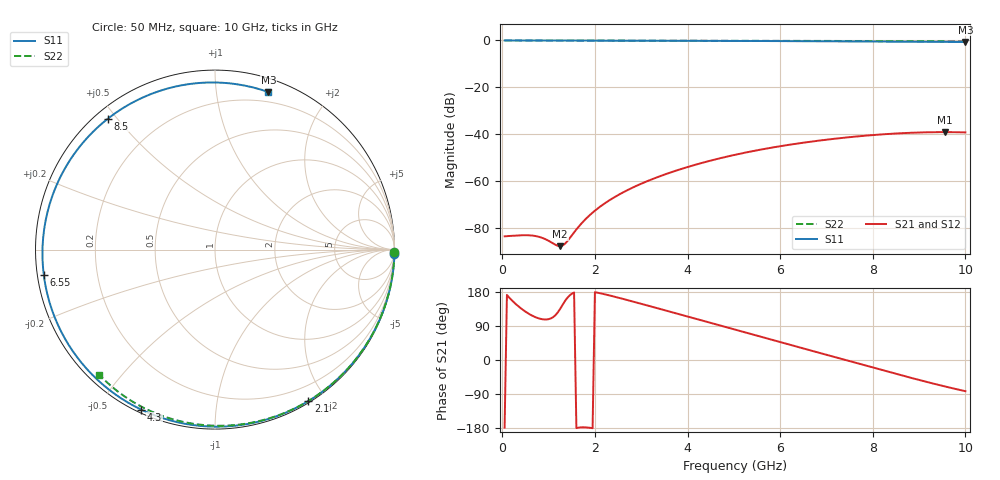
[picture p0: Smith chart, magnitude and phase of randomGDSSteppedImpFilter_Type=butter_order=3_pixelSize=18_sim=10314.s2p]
! freq	dB(S11)	phase(S11)	dB(S12)	phase(S12)
!  dB(S21)	phase(S21)	dB(S22)	phase(S22)
!S-par simulation data
#  GHz  S  DB  R 50
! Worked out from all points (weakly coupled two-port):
!   200 points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, 50 MHz to 10 GHz, reference 50 ohm
!   highest |S21| = -39.09 dB at 9.55 GHz (marker M1); lowest = -87.7 dB at 1.25 GHz (marker M2)
!   lowest |S11| = -0.7 dB at 10 GHz (marker M3), VSWR 26.28, Z = 5.59 + j69.5 ohm
!   |S11| at or under -10 dB: nowhere
!   |S22| runs from -0.4 to 0.0 dB; largest |S21 - S12| = 0
!   S11 on the Smith chart (normalised r, x): 50 MHz: 0, -80; 2.1 GHz: 0.02, -1.79; 4.3 GHz: 0.01, -0.64; 6.55 GHz: 0.02, -0.07; 8.5 GHz: 0.04, +0.47; 10 GHz: 0.11, +1.39
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0.05  -0.00 -1.4  -83.52 -178.3  -83.52 -178.3  -0.00 -0.8
0.65  -0.02 -18.5  -83.19 116.7  -83.19 116.7  -0.01 -9.9
1.25  -0.04 -35.2  -87.71 135.1  -87.71 135.1  -0.02 -19.0
1.6  -0.06 -44.8  -80.58 -179.7  -80.58 -179.7  -0.03 -24.2
1.75  -0.06 -48.9  -77.16 -177.6  -77.16 -177.6  -0.03 -26.5
2.1  -0.07 -58.3  -71.03 176.6  -71.03 176.6  -0.04 -31.6
2.65  -0.09 -72.9  -64.34 159.8  -64.34 159.8  -0.05 -39.7
3.4  -0.12 -92.2  -57.92 135.0  -57.92 135.0  -0.07 -50.4
3.85  -0.14 -103.5  -54.88 119.9  -54.88 119.9  -0.08 -56.7
4.3  -0.16 -114.7  -52.27 104.7  -52.27 104.7  -0.09 -62.8
5.05  -0.20 -133.3  -48.64 79.4  -48.64 79.4  -0.11 -72.9
5.85  -0.26 -153.4  -45.59 52.3  -45.59 52.3  -0.14 -83.3
6.55  -0.32 -171.7  -43.46 28.8  -43.46 28.8  -0.17 -92.1
6.7  -0.33 -175.8  -43.06 23.8  -43.06 23.8  -0.18 -93.9
7.15  -0.37 171.7  -41.96 8.7  -41.96 8.7  -0.21 -99.4
7.55  -0.41 159.9  -41.13 -4.7  -41.13 -4.7  -0.23 -104.3
7.95  -0.46 147.6  -40.42 -18.1  -40.42 -18.1  -0.26 -109.0
8.35  -0.50 134.4  -39.84 -31.4  -39.84 -31.4  -0.29 -113.7
8.5  -0.51 129.3  -39.67 -36.4  -39.67 -36.4  -0.30 -115.5
9.05  -0.57 109.4  -39.21 -54.2  -39.21 -54.2  -0.35 -121.8
9.55  -0.62 89.9  -39.09 -69.6  -39.09 -69.6  -0.40 -127.6
10  -0.66 71.2  -39.20 -82.4  -39.20 -82.4  -0.45 -132.7
